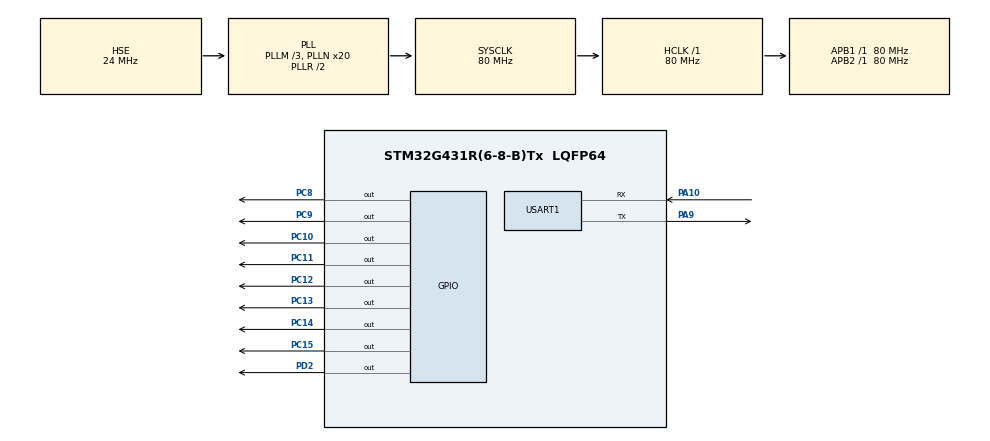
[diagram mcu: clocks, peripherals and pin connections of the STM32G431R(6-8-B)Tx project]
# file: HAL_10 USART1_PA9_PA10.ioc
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Mcu.Family=STM32G4
Mcu.Name=STM32G431R(6-8-B)Tx
Mcu.Package=LQFP64
NVIC.PriorityGroup=NVIC_PRIORITYGROUP_4
NVIC.USART1_IRQn=true\:0\:0\:false\:false\:true\:true\:true
PA10.Mode=Asynchronous
PA10.Signal=USART1_RX
PA13.Mode=Serial_Wire
PA13.Signal=SYS_JTMS-SWDIO
PA14.Mode=Serial_Wire
PA14.Signal=SYS_JTCK-SWCLK
PA9.Mode=Asynchronous
PA9.Signal=USART1_TX
PC10.PinState=GPIO_PIN_SET
PC10.Signal=GPIO_Output
PC11.PinState=GPIO_PIN_SET
PC11.Signal=GPIO_Output
PC12.PinState=GPIO_PIN_SET
PC12.Signal=GPIO_Output
PC13.PinState=GPIO_PIN_SET
PC13.Signal=GPIO_Output
PC14-OSC32_IN.PinState=GPIO_PIN_SET
PC14-OSC32_IN.Signal=GPIO_Output
PC15-OSC32_OUT.PinState=GPIO_PIN_SET
PC15-OSC32_OUT.Signal=GPIO_Output
PC8.PinState=GPIO_PIN_SET
PC8.Signal=GPIO_Output
PC9.PinState=GPIO_PIN_SET
PC9.Signal=GPIO_Output
PD2.PinState=GPIO_PIN_RESET
PD2.Signal=GPIO_Output
PF0-OSC_IN.Mode=HSE-External-Oscillator
PF0-OSC_IN.Signal=RCC_OSC_IN
PF1-OSC_OUT.Mode=HSE-External-Oscillator
PF1-OSC_OUT.Signal=RCC_OSC_OUT
ProjectManager.HeapSize=0x200
ProjectManager.StackSize=0x400
ProjectManager.TargetToolchain=MDK-ARM V5.27
RCC.ADC12Freq_Value=80000000
RCC.AHBFreq_Value=80000000
RCC.APB1Freq_Value=80000000
RCC.APB1TimFreq_Value=80000000
RCC.APB2Freq_Value=80000000
RCC.APB2TimFreq_Value=80000000
RCC.CortexFreq_Value=80000000
RCC.EXTERNAL_CLOCK_VALUE=12288000
RCC.HCLKFreq_Value=80000000
RCC.HSE_VALUE=24000000
RCC.HSI48_VALUE=48000000
RCC.HSI_VALUE=16000000
RCC.LSE_VALUE=32768
RCC.PLLM=RCC_PLLM_DIV3
RCC.PLLN=20
RCC.PLLSourceVirtual=RCC_PLLSOURCE_HSE
RCC.SYSCLKFreq_VALUE=80000000
RCC.SYSCLKSource=RCC_SYSCLKSOURCE_PLLCLK
RCC.USBFreq_Value=80000000
RCC.VCOOutputFreq_Value=160000000
USART1.VirtualMode-Asynchronous=VM_ASYNC
VP_SYS_VS_DBSignals.Mode=DisableDeadBatterySignals
board=custom

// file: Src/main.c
/* USER CODE BEGIN Header */
/**
  ******************************************************************************
  * @file           : main.c
  * @brief          : Main program body
  ******************************************************************************
  * @attention
  *
  * <h2><center>&copy; Copyright (c) 2024 STMicroelectronics.
  * All rights reserved.</center></h2>
  *
  * This software component is licensed by ST under BSD 3-Clause license,
  * the "License"; You may not use this file except in compliance with the
  * License. You may obtain a copy of the License at:
  *                        opensource.org/licenses/BSD-3-Clause
  *
  ******************************************************************************
  */
/* USER CODE END Header */

#include "main.h"
#include "usart.h"
#include "gpio.h"

/* USER CODE BEGIN Includes */
#include <stdio.h>
#include <string.h>
#include "lcd_hal.h"
/* USER CODE END Includes */

/* USER CODE BEGIN PV */
uint8_t str[30];
uint8_t RX[30];
uint8_t Num = 0;
/* USER CODE END PV */

void SystemClock_Config(void);

/* USER CODE BEGIN 0 */
void HAL_UART_RxCpltCallback(UART_HandleTypeDef *huart)
{
	LCD_DisplayStringLine(Line8, (uint8_t *)RX);
//	if(RX[0] == "")  可对接收内容进行判断
	HAL_UART_Receive_IT(&huart1, (uint8_t *)RX, 10);//该句作用是开始接收数据，存放到RX中，每接收完一次数据都要重新调用该函数
}

void HAL_UART_TxCpltCallBack(UART_HandleTypeDef *huart)
{
	//发送中断
	//一般用于在发送较多数据后，点个灯啥的，提醒发送完成
}

void LED_Close()
{
	HAL_GPIO_WritePin(GPIOC, GPIO_PIN_13|GPIO_PIN_14|GPIO_PIN_15|GPIO_PIN_8
                          |GPIO_PIN_9|GPIO_PIN_10|GPIO_PIN_11|GPIO_PIN_12, GPIO_PIN_SET);
	HAL_GPIO_WritePin(GPIOD, GPIO_PIN_2, GPIO_PIN_SET);
	HAL_GPIO_WritePin(GPIOD, GPIO_PIN_2, GPIO_PIN_RESET);
}
/* USER CODE END 0 */

int main(void)
{

  /* MCU Configuration--------------------------------------------------------*/

  /* Reset of all peripherals, Initializes the Flash interface and the Systick. */
  HAL_Init();

  /* USER CODE BEGIN Init */
  LCD_Init();
  /* USER CODE END Init */

  /* Configure the system clock */
  SystemClock_Config();

  /* Initialize all configured peripherals */
  MX_GPIO_Init();
  MX_USART1_UART_Init();
  /* USER CODE BEGIN 2 */
  LED_Close();
  HAL_UART_Receive_IT(&huart1, (uint8_t *)RX, 10);//注意事项，多退少补且容易卡顿，故发送的字符个数就按照规定来
  /* USER CODE END 2 */

  /* Infinite loop */
  /* USER CODE BEGIN WHILE */
  while (1)
  {
//	  HAL_UART_Transmit_IT(&huart1, (uint8_t *)"Hello world.\r\n", 16);
//	  HAL_Delay(500);
//
//	  sprintf((char*)str, "%d:Welcome\r\n", Num);
//	  LCD_DisplayStringLine(Line0, (uint8_t*)str);
//	  HAL_UART_Transmit_IT(&huart1,(uint8_t *)str, strlen((char*)str));

	  printf("Hello world!\r\n");
	  printf("N: %d \r\n",123);
	  printf("N: %f \r\n",3.1415);
      HAL_Delay(500);

//	  LCD_DisplayStringLine(Line8, "ReceiveData:");
    /* USER CODE END WHILE */

  }
}

void SystemClock_Config(void)
{
  RCC_OscInitTypeDef RCC_OscInitStruct = {0};
  RCC_ClkInitTypeDef RCC_ClkInitStruct = {0};
  RCC_PeriphCLKInitTypeDef PeriphClkInit = {0};

  /** Configure the main internal regulator output voltage
  */
  HAL_PWREx_ControlVoltageScaling(PWR_REGULATOR_VOLTAGE_SCALE1);
  /** Initializes the CPU, AHB and APB busses clocks
  */
  RCC_OscInitStruct.OscillatorType = RCC_OSCILLATORTYPE_HSE;
  RCC_OscInitStruct.HSEState = RCC_HSE_ON;
  RCC_OscInitStruct.PLL.PLLState = RCC_PLL_ON;
  RCC_OscInitStruct.PLL.PLLSource = RCC_PLLSOURCE_HSE;
  RCC_OscInitStruct.PLL.PLLM = RCC_PLLM_DIV3;
  RCC_OscInitStruct.PLL.PLLN = 20;
  RCC_OscInitStruct.PLL.PLLP = RCC_PLLP_DIV2;
  RCC_OscInitStruct.PLL.PLLQ = RCC_PLLQ_DIV2;
  RCC_OscInitStruct.PLL.PLLR = RCC_PLLR_DIV2;
  if (HAL_RCC_OscConfig(&RCC_OscInitStruct) != HAL_OK)
  {
    Error_Handler();
  }
  /** Initializes the CPU, AHB and APB busses clocks
  */
  RCC_ClkInitStruct.ClockType = RCC_CLOCKTYPE_HCLK|RCC_CLOCKTYPE_SYSCLK
                              |RCC_CLOCKTYPE_PCLK1|RCC_CLOCKTYPE_PCLK2;
  RCC_ClkInitStruct.SYSCLKSource = RCC_SYSCLKSOURCE_PLLCLK;
  RCC_ClkInitStruct.AHBCLKDivider = RCC_SYSCLK_DIV1;
  RCC_ClkInitStruct.APB1CLKDivider = RCC_HCLK_DIV1;
  RCC_ClkInitStruct.APB2CLKDivider = RCC_HCLK_DIV1;

  if (HAL_RCC_ClockConfig(&RCC_ClkInitStruct, FLASH_LATENCY_3) != HAL_OK)
  {
    Error_Handler();
  }
  /** Initializes the peripherals clocks
  */
  PeriphClkInit.PeriphClockSelection = RCC_PERIPHCLK_USART1;
  PeriphClkInit.Usart1ClockSelection = RCC_USART1CLKSOURCE_PCLK2;
  if (HAL_RCCEx_PeriphCLKConfig(&PeriphClkInit) != HAL_OK)
  {
    Error_Handler();
  }
}

void Error_Handler(void)
{
}

/************************ (C) COPYRIGHT STMicroelectronics *****END OF FILE****/
